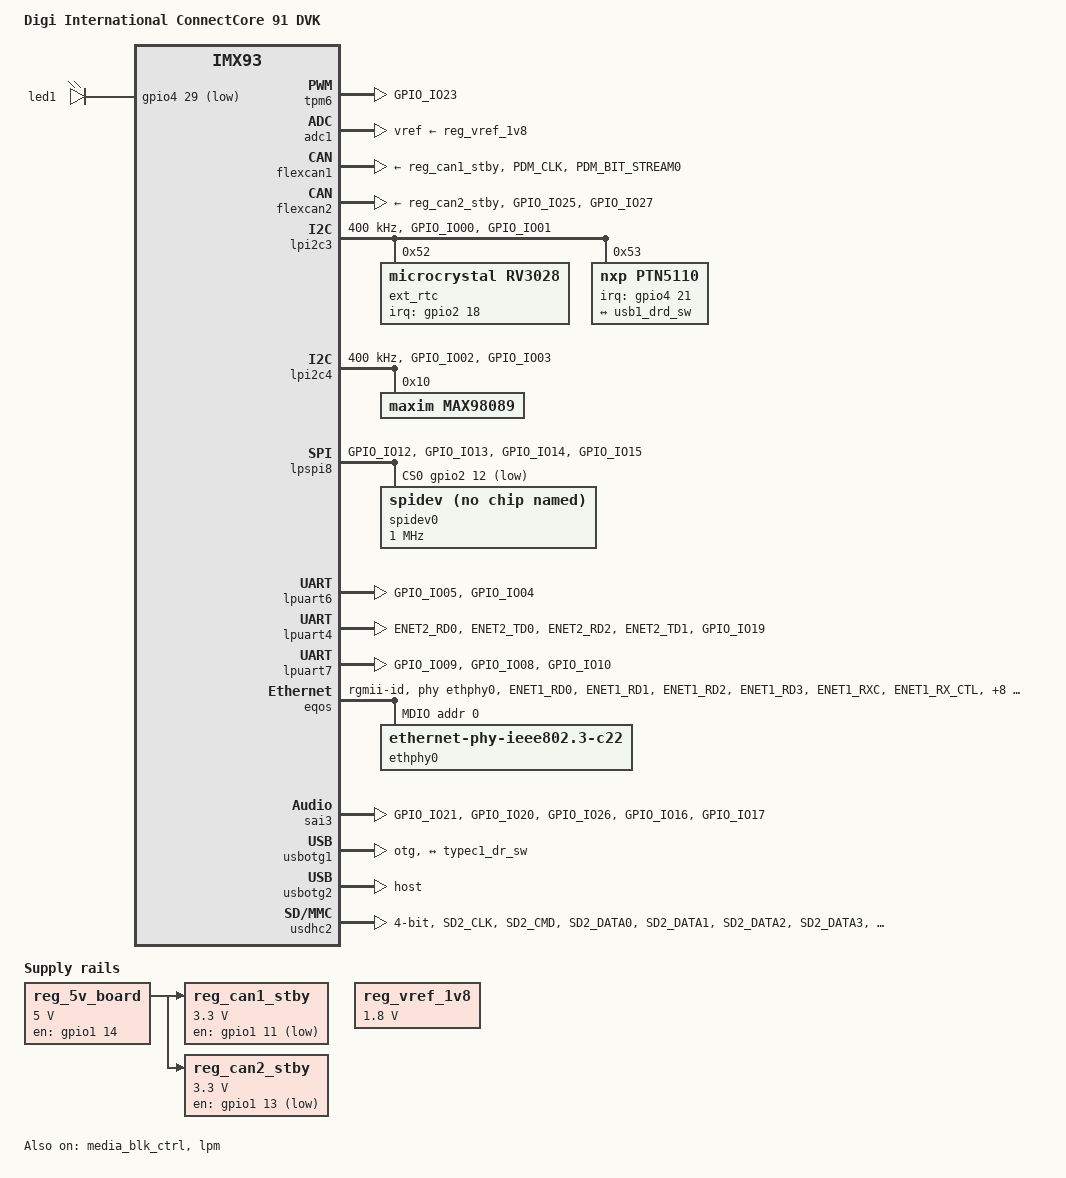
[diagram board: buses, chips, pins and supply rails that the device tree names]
/*
 * Copyright 2024, Digi International Inc.
 *
 * Permission to use, copy, modify, and/or distribute this software for any
 * purpose with or without fee is hereby granted, provided that the above
 * copyright notice and this permission notice appear in all copies.
 * THE SOFTWARE IS PROVIDED "AS IS" AND THE AUTHOR DISCLAIMS ALL WARRANTIES
 * WITH REGARD TO THIS SOFTWARE INCLUDING ALL IMPLIED WARRANTIES OF
 * MERCHANTABILITY AND FITNESS. IN NO EVENT SHALL THE AUTHOR BE LIABLE FOR
 * ANY SPECIAL, DIRECT, INDIRECT, OR CONSEQUENTIAL DAMAGES OR ANY DAMAGES
 * WHATSOEVER RESULTING FROM LOSS OF USE, DATA OR PROFITS, WHETHER IN AN
 * ACTION OF CONTRACT, NEGLIGENCE OR OTHER TORTIOUS ACTION, ARISING OUT OF
 * OR IN CONNECTION WITH THE USE OR PERFORMANCE OF THIS SOFTWARE.
 */

/dts-v1/;

#include <dt-bindings/usb/pd.h>
/* i.MX93 CPU */
#include "../freescale/imx93.dtsi"
/* Digi ConnectCore 91 (SOM) */
#include "ccimx91.dtsi"

/ {
	model = "Digi International ConnectCore 91 DVK";
	compatible = "digi,ccimx91-dvk", "digi,ccimx91", "fsl,imx91p", "fsl,imx93";
	digi,machine,name = "ccimx91-dvk";

	chosen {
		stdout-path = &lpuart6;
	};

	aliases {
		ethernet0 = &eqos;
		ethernet1 = &fec;
	};

	regulators {
		compatible = "simple-bus";
		#address-cells = <1>;
		#size-cells = <0>;

		reg_5v_board: regulator@1 {
			compatible = "regulator-fixed";
			reg = <4>;
			pinctrl-names = "default";
			pinctrl-0 = <&pinctrl_reg_5v_board>;
			regulator-name = "5v_board";
			regulator-min-microvolt = <5000000>;
			regulator-max-microvolt = <5000000>;
			gpio = <&gpio1 14 GPIO_ACTIVE_HIGH>;
			startup-delay-us = <5000>;
			enable-active-high;
		};

		reg_can1_stby: regulator-can1-stby {
			compatible = "regulator-fixed";
			pinctrl-names = "default";
			pinctrl-0 = <&pinctrl_reg_can1_stby>;
			regulator-name = "can1-stby";
			regulator-min-microvolt = <3300000>;
			regulator-max-microvolt = <3300000>;
			gpio = <&gpio1 11 GPIO_ACTIVE_LOW>;
			vin-supply = <&reg_5v_board>;
			enable-active-low;
		};

		reg_can2_stby: regulator-can2-stby {
			compatible = "regulator-fixed";
			pinctrl-names = "default";
			pinctrl-0 = <&pinctrl_reg_can2_stby>;
			regulator-name = "can2-stby";
			regulator-min-microvolt = <3300000>;
			regulator-max-microvolt = <3300000>;
			gpio = <&gpio1 13 GPIO_ACTIVE_LOW>;
			vin-supply = <&reg_5v_board>;
			enable-active-low;
		};

		reg_vref_1v8: regulator-adc-vref {
			compatible = "regulator-fixed";
			regulator-name = "vref_1v8";
			regulator-min-microvolt = <1800000>;
			regulator-max-microvolt = <1800000>;
		};
	};

	sound_max98089: sound-max98089 {
		compatible = "fsl,imx-audio-max98088";
		model = "max98088-audio";
		audio-cpu = <&sai3>;
		audio-codec = <&max98089>;
		audio-routing =
			"Headphone Jack", "HPL",
			"Headphone Jack", "HPR",
			"Ext Spk", "SPKL",
			"Ext Spk", "SPKR",
			"Line Out Jack", "RECL",
			"Line Out Jack", "RECR",
			"Mic Jack", "MIC1",
			"Mic Jack", "MIC2",
			"Line In Jack", "INA1",
			"Line In Jack", "INA2",
			"Line In Jack", "INB1",
			"Line In Jack", "INB2";
	};

	leds {
		compatible = "gpio-leds";
		pinctrl-names = "default";
		pinctrl-0 = <&pinctrl_gpio_led>;

		led1 {
			label = "led1";
			gpios = <&gpio4 29 GPIO_ACTIVE_LOW>;
			linux,default-trigger = "heartbeat";
		};
	};
};

&tmu {
	status = "disabled";
};

/* LVDS PWM backlight */
&tpm6 {
	pinctrl-names = "default";
	pinctrl-0 = <&pinctrl_tpm6>;
};

/* ADC - 4 channels available on expansion connector */
&adc1 {
	vref-supply = <&reg_vref_1v8>;
	status = "okay";
};

&media_blk_ctrl {
	status = "okay";
};

&flexcan1 {
	pinctrl-names = "default";
	pinctrl-0 = <&pinctrl_flexcan1>;
	xceiver-supply = <&reg_can1_stby>;
	status = "okay";
};

&flexcan2 {
	pinctrl-names = "default";
	pinctrl-0 = <&pinctrl_flexcan2>;
	xceiver-supply = <&reg_can2_stby>;
	status = "okay";
};

/* LPI2C3 - ext RTC ... */
&lpi2c3 {
	#address-cells = <1>;
	#size-cells = <0>;
	clock-frequency = <400000>;
	pinctrl-names = "default", "sleep";
	pinctrl-0 = <&pinctrl_lpi2c3>;
	pinctrl-1 = <&pinctrl_lpi2c3>;
	status = "okay";

	ext_rtc: ext_rtc@52 {
		compatible = "microcrystal,rv3028";
		reg = <0x52>;
		pinctrl-names = "default";
		pinctrl-0 = <&pinctrl_rtc>;
		interrupt-parent = <&gpio2>;
		interrupts = <18 IRQ_TYPE_EDGE_FALLING>;
		wakeup-source;
	};

	ptn5110: tcpc@53 {
		compatible = "nxp,ptn5110";
		pinctrl-names = "default";
		pinctrl-0 = <&pinctrl_usbc>;
		reg = <0x53>;
		interrupt-parent = <&gpio4>;
		interrupts = <21 IRQ_TYPE_LEVEL_LOW>;
		status = "okay";

		port {
			typec1_dr_sw: endpoint {
				remote-endpoint = <&usb1_drd_sw>;
			};
		};

		typec1_con: connector {
			compatible = "usb-c-connector";
			label = "USB-C";
			power-role = "source";
			data-role = "dual";
			source-pdos = <PDO_FIXED(5000, 3000, PDO_FIXED_USB_COMM)>;
		};
	};
};

/* LPI2C4 - Audio codec */
&lpi2c4 {
	#address-cells = <1>;
	#size-cells = <0>;
	clock-frequency = <400000>;
	pinctrl-names = "default", "sleep";
	pinctrl-0 = <&pinctrl_lpi2c4>;
	pinctrl-1 = <&pinctrl_lpi2c4>;
	status = "okay";

	max98089: codec@10 {
		compatible = "maxim,max98089";
		reg = <0x10>;
		clocks = <&clk IMX93_CLK_SAI3_GATE>;
		clock-names = "mclk";
	};

};

/* mikroBUS SPI interface */
&lpspi8 {
	fsl,spi-num-chipselects = <1>;
	pinctrl-names = "default", "sleep";
	pinctrl-0 = <&pinctrl_lpspi8>;
	pinctrl-1 = <&pinctrl_lpspi8>;
	cs-gpios = <&gpio2 12 GPIO_ACTIVE_LOW>;
	status = "okay";

	spidev0: spi@0 {
		/*
		 * spidev uses a compatible string 'rohm,fs2228fv' to have the
		 * driver create an spi device node. This is just an example,
		 * there is not a real device connected on the SPI bus.
		 */
		compatible = "rohm,dh2228fv";
		reg = <0>;
		spi-max-frequency = <1000000>;
	};
};

&lpuart6 { /* console */
	pinctrl-names = "default";
	pinctrl-0 = <&pinctrl_uart6>;
	status = "okay";
};

/*
 * XBee interface
 * The lines of this interface are shared with ENET2. Refer to the hardware and
 * software documentation for additional information about how to configure the
 * board.
 */
&lpuart4 {
	pinctrl-names = "default";
	pinctrl-0 = <&pinctrl_uart4>, <&pinctrl_xbee_rf_gpios>;
	fsl,uart-has-rtscts;
	status = "okay";
};

/*
 * RS485/mikroBUS UART
 * The uart of the RS485 and the mikroBUS interfaces is shared. Configure the
 * corresponding jumpers to select the desired functionality.
 */
&lpuart7 {
	pinctrl-names = "default";
	pinctrl-0 = <&pinctrl_uart7>;
	linux,rs485-enabled-at-boot-time;
	digi,rts-gpio = <&gpio2 10 GPIO_ACTIVE_HIGH>;
	/delete-property/dmas;
	/delete-property/dma-names;
	status = "okay";
};

/* Ethernet EQoS */
&eqos {
	pinctrl-names = "default", "sleep";
	pinctrl-0 = <&pinctrl_eqos>, <&pinctrl_eqos_mdio>;
	pinctrl-1 = <&pinctrl_eqos_sleep>;
	phy-mode = "rgmii-id";
	phy-handle = <&ethphy0>;
	status = "okay";

	mdio {
		compatible = "snps,dwmac-mdio";
		#address-cells = <1>;
		#size-cells = <0>;
		clock-frequency = <5000000>;

		ethphy0: ethernet-phy@0 {
			compatible = "ethernet-phy-ieee802.3-c22";
			reg = <0>;
		};
	};
};

/* Ethernet MAC (ENET) */
&fec {
	pinctrl-names = "default", "sleep";
	pinctrl-0 = <&pinctrl_fec>, <&pinctrl_fec_mdio>;
	pinctrl-1 = <&pinctrl_fec_sleep>;
	phy-mode = "rgmii-id";
	phy-handle = <&ethphy1>;
	fsl,magic-packet;
	status = "disabled";

	mdio {
		#address-cells = <1>;
		#size-cells = <0>;
		clock-frequency = <5000000>;

		ethphy1: ethernet-phy@1 {
			/* PHY ID for Marvell 88E1512 */
			compatible = "ethernet-phy-ieee802.3-c22";
			reg = <1>;
		};
	};
};

&lpm {
	soc-supply = <&buck1>;
	status = "okay";
};

/* Audio interface */
&sai3 {
	pinctrl-names = "default";
	pinctrl-0 = <&pinctrl_sai3>;
	assigned-clocks = <&clk IMX93_CLK_SAI3>;
	assigned-clock-parents = <&clk IMX93_CLK_AUDIO_PLL>;
	assigned-clock-rates = <12288000>;
	fsl,sai-mclk-direction-output;
	status = "okay";
};

/* USB_OTG1 - USB TypeC */
&usbotg1 {
	dr_mode = "otg";
	hnp-disable;
	srp-disable;
	adp-disable;
	usb-role-switch;
	disable-over-current;
	samsung,picophy-pre-emp-curr-control = <3>;
	samsung,picophy-dc-vol-level-adjust = <7>;
	status = "okay";

	port {
		usb1_drd_sw: endpoint {
			remote-endpoint = <&typec1_dr_sw>;
		};
	};
};

/* USB_OTG2 connected to usb hub */
&usbotg2 {
	dr_mode = "host";
	disable-over-current;
	status = "okay";
};

/* SD card */
&usdhc2 {
	pinctrl-names = "default", "state_100mhz", "state_200mhz";
	pinctrl-0 = <&pinctrl_usdhc2>, <&pinctrl_usdhc2_gpio>;
	pinctrl-1 = <&pinctrl_usdhc2_100mhz>, <&pinctrl_usdhc2_gpio>;
	pinctrl-2 = <&pinctrl_usdhc2_200mhz>, <&pinctrl_usdhc2_gpio>;
	cd-gpios = <&gpio3 00 GPIO_ACTIVE_HIGH>;
	bus-width = <4>;
	status = "okay";
	post-power-on-delay-ms = <200>;
	no-sdio;
	no-mmc;
};

&iomuxc {
	pinctrl-names = "default";
	pinctrl-0 = <&pinctrl_gpio>, <&pinctrl_gpio_shared_enet2>;

	/* EQoS RGMII */
	pinctrl_eqos: eqosgrp {
		fsl,pins = <
			MX93_PAD_ENET1_RD0__ENET_QOS_RGMII_RD0			0x57e
			MX93_PAD_ENET1_RD1__ENET_QOS_RGMII_RD1			0x57e
			MX93_PAD_ENET1_RD2__ENET_QOS_RGMII_RD2			0x57e
			MX93_PAD_ENET1_RD3__ENET_QOS_RGMII_RD3			0x57e
			MX93_PAD_ENET1_RXC__CCM_ENET_QOS_CLOCK_GENERATE_RX_CLK	0x5fe
			MX93_PAD_ENET1_RX_CTL__ENET_QOS_RGMII_RX_CTL		0x57e
			MX93_PAD_ENET1_TD0__ENET_QOS_RGMII_TD0			0x57e
			MX93_PAD_ENET1_TD1__ENET_QOS_RGMII_TD1			0x57e
			MX93_PAD_ENET1_TD2__ENET_QOS_RGMII_TD2			0x57e
			MX93_PAD_ENET1_TD3__ENET_QOS_RGMII_TD3			0x57e
			MX93_PAD_ENET1_TXC__CCM_ENET_QOS_CLOCK_GENERATE_TX_CLK	0x5fe
			MX93_PAD_ENET1_TX_CTL__ENET_QOS_RGMII_TX_CTL		0x57e
		>;
	};

	/* EQoS MDIO */
	pinctrl_eqos_mdio: ethmdio {
		fsl,pins = <
			MX93_PAD_ENET1_MDC__ENET_QOS_MDC			0x57e
			MX93_PAD_ENET1_MDIO__ENET_QOS_MDIO			0x57e
		>;
	};

	/* EQoS sleep */
	pinctrl_eqos_sleep: eqosgrp-sleep {
		fsl,pins = <
			MX93_PAD_ENET1_RD0__GPIO4_IO10			0xc00
			MX93_PAD_ENET1_RD1__GPIO4_IO11			0xc00
			MX93_PAD_ENET1_RD2__GPIO4_IO12			0xc00
			MX93_PAD_ENET1_RD3__GPIO4_IO13			0xc00
			MX93_PAD_ENET1_RXC__GPIO4_IO09			0xc00
			MX93_PAD_ENET1_RX_CTL__GPIO4_IO08		0xc00
			MX93_PAD_ENET1_TD0__GPIO4_IO05			0xc00
			MX93_PAD_ENET1_TD1__GPIO4_IO04			0xc00
			MX93_PAD_ENET1_TD2__GPIO4_IO03			0xc00
			MX93_PAD_ENET1_TD3__GPIO4_IO02			0xc00
			MX93_PAD_ENET1_TXC__GPIO4_IO07			0xc00
			MX93_PAD_ENET1_TX_CTL__GPIO4_IO06		0xc00
			MX93_PAD_ENET1_MDC__GPIO4_IO00			0xc00
			MX93_PAD_ENET1_MDIO__GPIO4_IO01			0xc00
		>;
	};

	/* FEC RGMII */
	pinctrl_fec: fecgrp {
		fsl,pins = <
			MX93_PAD_ENET2_RD0__ENET1_RGMII_RD0			0x57e
			MX93_PAD_ENET2_RD1__ENET1_RGMII_RD1			0x57e
			MX93_PAD_ENET2_RD2__ENET1_RGMII_RD2			0x57e
			MX93_PAD_ENET2_RD3__ENET1_RGMII_RD3			0x57e
			MX93_PAD_ENET2_RXC__ENET1_RGMII_RXC			0x5fe
			MX93_PAD_ENET2_RX_CTL__ENET1_RGMII_RX_CTL		0x57e
			MX93_PAD_ENET2_TD0__ENET1_RGMII_TD0			0x57e
			MX93_PAD_ENET2_TD1__ENET1_RGMII_TD1			0x57e
			MX93_PAD_ENET2_TD2__ENET1_RGMII_TD2			0x57e
			MX93_PAD_ENET2_TD3__ENET1_RGMII_TD3			0x57e
			MX93_PAD_ENET2_TXC__ENET1_RGMII_TXC			0x5fe
			MX93_PAD_ENET2_TX_CTL__ENET1_RGMII_TX_CTL		0x57e
		>;
	};

	/* FEC MDIO */
	pinctrl_fec_mdio: fecmdiogrp {
		fsl,pins = <
			MX93_PAD_ENET2_MDC__ENET1_MDC				0x57e
			MX93_PAD_ENET2_MDIO__ENET1_MDIO				0x57e
		>;
	};

	/* FEC_SLEEP */
	pinctrl_fec_sleep: fecgrp-sleep {
		fsl,pins = <
			MX93_PAD_ENET2_RD0__GPIO4_IO24			0xc00
			MX93_PAD_ENET2_RD1__GPIO4_IO25			0xc00
			MX93_PAD_ENET2_RD2__GPIO4_IO26			0xc00
			MX93_PAD_ENET2_RD3__GPIO4_IO27			0xc00
			MX93_PAD_ENET2_RXC__GPIO4_IO23			0xc00
			MX93_PAD_ENET2_RX_CTL__GPIO4_IO22		0xc00
			MX93_PAD_ENET2_TD0__GPIO4_IO19			0xc00
			MX93_PAD_ENET2_TD1__GPIO4_IO18			0xc00
			MX93_PAD_ENET2_TD2__GPIO4_IO17			0xc00
			MX93_PAD_ENET2_TD3__GPIO4_IO16			0xc00
			MX93_PAD_ENET2_TXC__GPIO4_IO21			0xc00
			MX93_PAD_ENET2_TX_CTL__GPIO4_IO20		0xc00
			MX93_PAD_ENET2_MDC__GPIO4_IO14			0xc00
			MX93_PAD_ENET2_MDIO__GPIO4_IO15			0xc00
		>;
	};

	/* CAN1 */
	pinctrl_flexcan1: flexcan1grp {
		fsl,pins = <
			MX93_PAD_PDM_CLK__CAN1_TX				0x139e
			MX93_PAD_PDM_BIT_STREAM0__CAN1_RX			0x139e
		>;
	};

	/* CAN2 */
	pinctrl_flexcan2: flexcan2grp {
		fsl,pins = <
			MX93_PAD_GPIO_IO25__CAN2_TX				0x139e
			MX93_PAD_GPIO_IO27__CAN2_RX				0x139e
		>;
	};

	/* GPIOs for User Leds, Buttons, ... */
	pinctrl_gpio: gpiogrp {
		fsl,pins = <
			/* ULED/BUTTON1 */
			MX93_PAD_SD2_RESET_B__GPIO3_IO07			0x31e
			/* MIKROBUS_INT */
			MX93_PAD_GPIO_IO11__GPIO2_IO11				0x31e
		>;
	};

	/* Shared GPIOs with ENET2 to be removed with overlay */
	pinctrl_gpio_shared_enet2: gpiosharedenet2grp {
		fsl,pins = <
			/* GPIO4_IO16 */
			MX93_PAD_ENET2_TD3__GPIO4_IO16			0x31e
			/* GPIO4_IO17 */
			MX93_PAD_ENET2_TD2__GPIO4_IO17			0x31e
			/* GPIO4_IO22 */
			MX93_PAD_ENET2_RX_CTL__GPIO4_IO22			0x31e
			/* ULED/BUTTON2 */
			MX93_PAD_ENET2_RXC__GPIO4_IO23			0x31e
			/* GPIO4_IO25 */
			MX93_PAD_ENET2_RD1__GPIO4_IO25			0x31e
			/* GPIO4_IO27 */
			MX93_PAD_ENET2_RD3__GPIO4_IO27			0x31e
		>;
	};

	/* Power led */
	pinctrl_gpio_led: gpioledgrp {
		fsl,pins = <
			MX93_PAD_CCM_CLKO4__GPIO4_IO29				0x31e
		>;
	};

	/* LPI2C3 */
	pinctrl_lpi2c3: lpi2c3grp {
		fsl,pins = <
			MX93_PAD_GPIO_IO00__LPI2C3_SDA				0x40000b9e
			MX93_PAD_GPIO_IO01__LPI2C3_SCL				0x40000b9e
		>;
	};

	/* LPI2C4 */
	pinctrl_lpi2c4: lpi2c4grp {
		fsl,pins = <
			MX93_PAD_GPIO_IO02__LPI2C4_SDA				0x40000b9e
			MX93_PAD_GPIO_IO03__LPI2C4_SCL				0x40000b9e
		>;
	};

	/* mikroBUS SPI interface */
	pinctrl_lpspi8: lpspi8grp {
		fsl,pins = <
			MX93_PAD_GPIO_IO12__GPIO2_IO12				0x3fe
			MX93_PAD_GPIO_IO13__LPSPI8_SIN				0x3fe
			MX93_PAD_GPIO_IO14__LPSPI8_SOUT				0x3fe
			MX93_PAD_GPIO_IO15__LPSPI8_SCK				0x3fe
		>;
	};

	/* DVK 5V power switch */
	pinctrl_reg_5v_board: reg_5v_board_grp {
		fsl,pins = <
			/* 5V regulator power enable */
			MX93_PAD_SAI1_RXD0__GPIO1_IO14				0x31e
		>;
	};

	/* CAN1 STBY control */
	pinctrl_reg_can1_stby: reg_can1_stby_grp {
		fsl,pins = <
			MX93_PAD_SAI1_TXFS__GPIO1_IO11				0x31e
		>;
	};

	/* CAN2 STBY control */
	pinctrl_reg_can2_stby: reg_can2_stby_grp {
		fsl,pins = <
			MX93_PAD_SAI1_TXD0__GPIO1_IO13				0x31e
		>;
	};

	/* RTC INT */
	pinctrl_rtc: rtc_grp {
		fsl,pins = <
			MX93_PAD_GPIO_IO18__GPIO2_IO18				0x31e
		>;
	};

	/* Audio Interface */
	pinctrl_sai3: sai3grp {
		fsl,pins = <
			MX93_PAD_GPIO_IO21__SAI3_TX_DATA00			0x31e
			MX93_PAD_GPIO_IO20__SAI3_RX_DATA00			0x31e
			MX93_PAD_GPIO_IO26__SAI3_TX_SYNC			0x31e
			MX93_PAD_GPIO_IO16__SAI3_TX_BCLK			0x31e
			MX93_PAD_GPIO_IO17__SAI3_MCLK				0x31e
		>;
	};

	/* SD card */
	pinctrl_usdhc2_gpio: usdhc2gpiogrp {
		fsl,pins = <
			MX93_PAD_SD2_CD_B__GPIO3_IO00				0x31e
		>;
	};

	/* need to config the SION for data and cmd pad, refer to ERR052021 */
	pinctrl_usdhc2: usdhc2grp {
		fsl,pins = <
			MX93_PAD_SD2_CLK__USDHC2_CLK				0x1582
			MX93_PAD_SD2_CMD__USDHC2_CMD				0x40001382
			MX93_PAD_SD2_DATA0__USDHC2_DATA0			0x40001382
			MX93_PAD_SD2_DATA1__USDHC2_DATA1			0x40001382
			MX93_PAD_SD2_DATA2__USDHC2_DATA2			0x40001382
			MX93_PAD_SD2_DATA3__USDHC2_DATA3			0x40001382
			MX93_PAD_SD2_VSELECT__USDHC2_VSELECT			0x51e
		>;
	};

	/* need to config the SION for data and cmd pad, refer to ERR052021 */
	pinctrl_usdhc2_100mhz: usdhc2grp-100mhzgrp {
		fsl,pins = <
			MX93_PAD_SD2_CLK__USDHC2_CLK				0x158e
			MX93_PAD_SD2_CMD__USDHC2_CMD				0x4000138e
			MX93_PAD_SD2_DATA0__USDHC2_DATA0			0x4000138e
			MX93_PAD_SD2_DATA1__USDHC2_DATA1			0x4000138e
			MX93_PAD_SD2_DATA2__USDHC2_DATA2			0x4000138e
			MX93_PAD_SD2_DATA3__USDHC2_DATA3			0x4000138e
			MX93_PAD_SD2_VSELECT__USDHC2_VSELECT			0x51e
		>;
	};

	/* need to config the SION for data and cmd pad, refer to ERR052021 */
	pinctrl_usdhc2_200mhz: usdhc2grp-200mhzgrp {
		fsl,pins = <
			MX93_PAD_SD2_CLK__USDHC2_CLK				0x15fe
			MX93_PAD_SD2_CMD__USDHC2_CMD				0x400013fe
			MX93_PAD_SD2_DATA0__USDHC2_DATA0			0x400013fe
			MX93_PAD_SD2_DATA1__USDHC2_DATA1			0x400013fe
			MX93_PAD_SD2_DATA2__USDHC2_DATA2			0x400013fe
			MX93_PAD_SD2_DATA3__USDHC2_DATA3			0x400013fe
			MX93_PAD_SD2_VSELECT__USDHC2_VSELECT			0x51e
		>;
	};

	/* Serial console */
	pinctrl_uart6: uart6grp {
		fsl,pins = <
			MX93_PAD_GPIO_IO05__LPUART6_RX				0x31e
			MX93_PAD_GPIO_IO04__LPUART6_TX				0x31e
		>;
	};

	/* XBee uart */
	pinctrl_uart4: uart4grp {
	fsl,pins = <
			MX93_PAD_ENET2_RD0__LPUART4_RX				0x31e
			MX93_PAD_ENET2_TD0__LPUART4_TX				0x31e
			MX93_PAD_ENET2_RD2__LPUART4_CTS_B			0x31e
			MX93_PAD_ENET2_TD1__LPUART4_RTS_B			0x31e
		>;
	};

	/* XBee RF IO lines */
	pinctrl_xbee_rf_gpios: xbeerfgrp {
		fsl,pins = <
			/* XBEE_RESET_N */
			MX93_PAD_GPIO_IO19__GPIO2_IO19				0x31e
		>;
	};

	/* mikroBUS/RS485 uart */
	pinctrl_uart7: uart7grp {
	fsl,pins = <
			MX93_PAD_GPIO_IO09__LPUART7_RX				0x31e
			MX93_PAD_GPIO_IO08__LPUART7_TX				0x31e
			/* RS485_DE */
			MX93_PAD_GPIO_IO10__GPIO2_IO10				0x31e
		>;
	};

	/* USB TypeC IRQ */
	pinctrl_usbc: usbcgrp {
		fsl,pins = <
			/* USBC Alert */
			MX93_PAD_ENET2_TXC__GPIO4_IO21				0x31e
		>;
	};

	/* LVDS PWM backlight */
	pinctrl_tpm6: tpm6grp {
		fsl,pins = <
			MX93_PAD_GPIO_IO23__TPM6_CH1					0x19e
		>;
	};
};
